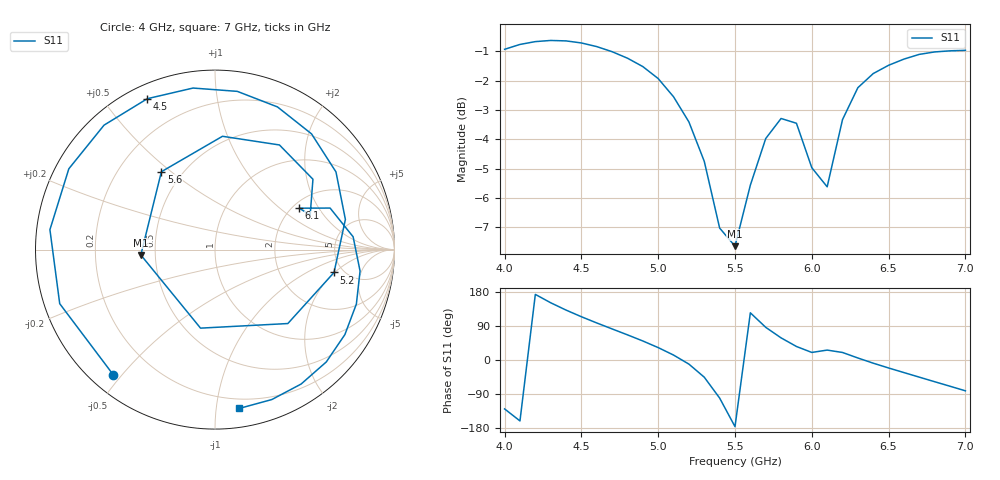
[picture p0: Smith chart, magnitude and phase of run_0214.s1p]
! Touchstone file exported from HFSS 2024.2.0
!  File:  C:/Users/wsak9/Desktop/Sim Fast/Widenad Patch/WP_AI_V1_sweep.aedt
!  Generated:  11:53:59 PM Oct 13, 2026
!  Design:  A1_model
!  Project:  WP_AI_V1_sweep
!  Setup:  Setup1
!  Solution:  Sweep
! Variables:
!  Air_gap = 4.43mm
!  Curve_Amp1 = 3.66
!  Curve_len1 = 1
!  Curve_pos = 10.34mm
!  Extra = 5.69mm
!  H_sub = 0.79mm
!  L_Patch = 16.68mm
!  L_Patch1 = 16.2mm
!  Sx = 0.76mm
!  Sy = 1.64mm
!  WS = 0.82mm
!  W_Patch = 18.07mm
!  W_Patch1 = 10.51mm
!Data is not renormalized
# GHz S MA
! Terminal data exported
! Port[1] = 1
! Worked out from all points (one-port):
!   31 points, 4 GHz to 7 GHz, reference per port
!   lowest |S11| = -7.7 dB at 5.5 GHz (marker M1), VSWR 2.41
!   |S11| at or under -10 dB: nowhere
!   S11 on the Smith chart (normalised r, x): 4 GHz: 0.07, -0.47; 4.5 GHz: 0.06, +0.65; 5.2 GHz: 4.20, -1.96; 5.6 GHz: 0.39, +0.46; 6.1 GHz: 2.17, +1.38; 7 GHz: 0.13, -1.16
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4  0.8988 -129.1
4.1  0.9161 -160.8
4.2  0.9264 173.1
4.3  0.9306 151.1
4.4  0.929 131.7
4.5  0.9215 114.2
4.6  0.9084 97.7
4.7  0.8903 82.0
4.8  0.8678 66.3
4.9  0.8396 50.2
5  0.801 32.7
5.1  0.7456 13.0
5.2  0.6754 -10.9
5.3  0.5783 -45.4
5.4  0.4449 -100.4
5.5  0.4143 -175.9
5.6  0.5268 124.5
5.7  0.6327 86.2
5.8  0.6846 58.4
5.9  0.6719 35.7
6  0.5641 20.0
6.1  0.5233 26.2
6.2  0.6817 19.9
6.3  0.7728 5.3
6.5  0.844 -21.1
6.7  0.881 -45.3
6.9  0.8934 -69.3
7  0.8951 -81.3
